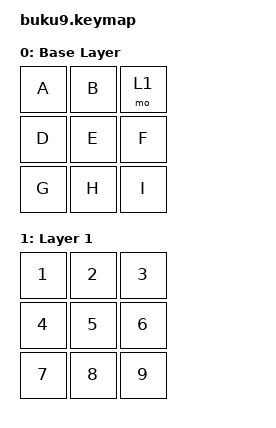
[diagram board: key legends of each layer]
#include <behaviors.dtsi>
#include <dt-bindings/zmk/keys.h>
#include <dt-bindings/zmk/bt.h>

/ {
    keymap {
        compatible = "zmk,keymap";

        default_layer {
            display-name = "Base Layer";
            bindings = <
                &kp A &kp B &mo 1
                &kp D &kp E &kp F
                &kp G &kp H &kp I
            >;
        };

        layer_1 {
            display-name = "Layer 1";
            bindings = <
                &kp 1 &kp 2 &kp 3
                &kp 4 &kp 5 &kp 6
                &kp 7 &kp 8 &kp 9
            >;
        };
    };
};
